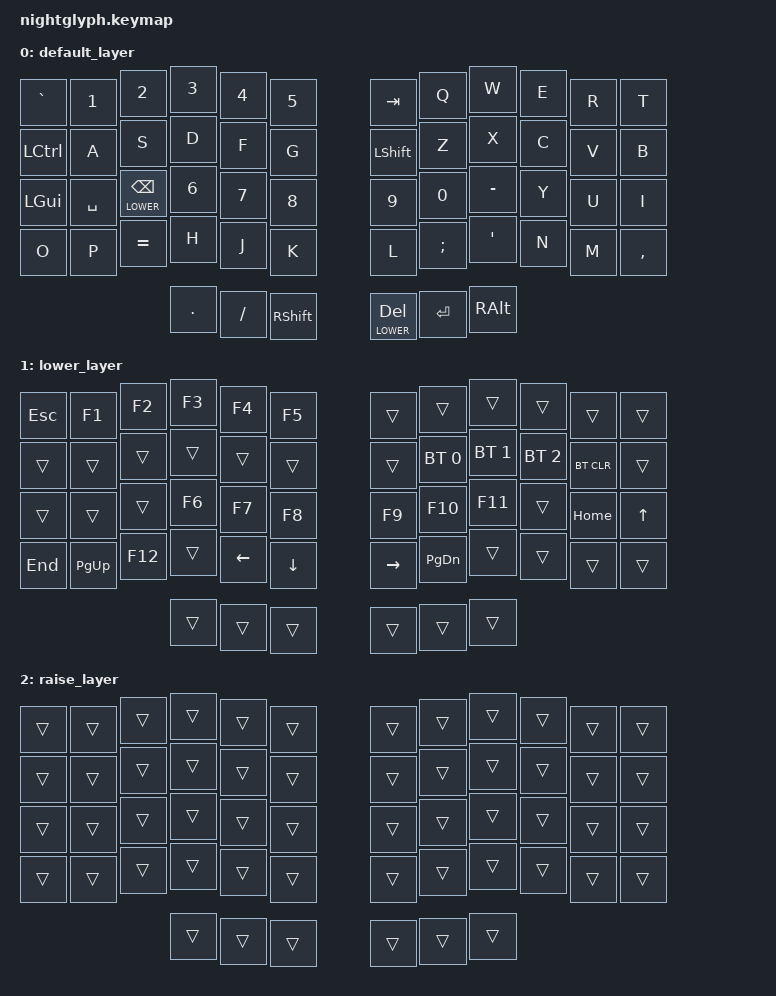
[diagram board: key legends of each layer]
/*
 * NightGlyph キーマップ
 *
 * 物理レイアウト（左右合わせた全体図）:
 *
 * ┌───┬───┬───┬───┬───┬───┐   ┌───┬───┬───┬───┬───┬───┐
 * │ ` │ 1 │ 2 │ 3 │ 4 │ 5 │   │ 6 │ 7 │ 8 │ 9 │ 0 │ - │
 * ├───┼───┼───┼───┼───┼───┤   ├───┼───┼───┼───┼───┼───┤
 * │Tab│ Q │ W │ E │ R │ T │   │ Y │ U │ I │ O │ P │ = │
 * ├───┼───┼───┼───┼───┼───┤   ├───┼───┼───┼───┼───┼───┤
 * │Ctl│ A │ S │ D │ F │ G │   │ H │ J │ K │ L │ ; │ ' │
 * ├───┼───┼───┼───┼───┼───┤   ├───┼───┼───┼───┼───┼───┤
 * │Sft│ Z │ X │ C │ V │ B │   │ N │ M │ , │ . │ / │Sft│
 * └───┴───┴───┼───┼───┼───┘   └───┼───┼───┼───┴───┴───┘
 *             │GUI│Spc│BSP│   │DEL│Ent│RAl│
 *             └───┴───┴───┘   └───┴───┴───┘
 *
 * 【バインディング順（重要）】
 *   ZMK は 左(セントラル)=キー位置0-26、右(ペリフェラル)=27-53 に割り当てる。
 *   なので「左27キー(row0→row4) を全部 → 続けて右27キー(row0→row4)」の順で書く。
 *   各サイドの transform 順は matrix_transform の RC() 順に一致。
 */

#include <behaviors.dtsi>
#include <dt-bindings/zmk/keys.h>
#include <dt-bindings/zmk/bt.h>

#define DEFAULT 0
#define LOWER   1
#define RAISE   2

/ {
    keymap {
        compatible = "zmk,keymap";

        default_layer {
            /* QWERTY レイアウト */
            bindings = <
                /* ===== 左 27キー ===== */
                &kp GRAVE  &kp N1     &kp N2     &kp N3     &kp N4     &kp N5
                &kp TAB    &kp Q      &kp W      &kp E      &kp R      &kp T
                &kp LCTRL  &kp A      &kp S      &kp D      &kp F      &kp G
                &kp LSHFT  &kp Z      &kp X      &kp C      &kp V      &kp B
                &kp LGUI   &kp SPACE  &lt LOWER BSPC
                /* ===== 右 27キー ===== */
                &kp N6     &kp N7     &kp N8     &kp N9     &kp N0     &kp MINUS
                &kp Y      &kp U      &kp I      &kp O      &kp P      &kp EQUAL
                &kp H      &kp J      &kp K      &kp L      &kp SEMI   &kp SQT
                &kp N      &kp M      &kp COMMA  &kp DOT    &kp FSLH   &kp RSHFT
                &lt LOWER DEL  &kp ENTER  &kp RALT
            >;
        };

        lower_layer {
            /*
             * ファンクションキー / ナビゲーション / BT
             *
             * ┌────┬────┬────┬────┬────┬────┐   ┌────┬────┬────┬────┬────┬────┐
             * │ESC │ F1 │ F2 │ F3 │ F4 │ F5 │   │ F6 │ F7 │ F8 │ F9 │F10 │F11 │
             * ├────┼────┼────┼────┼────┼────┤   ├────┼────┼────┼────┼────┼────┤
             * │    │    │    │    │    │    │   │    │Home│ Up │End │PgUp│F12 │
             * ├────┼────┼────┼────┼────┼────┤   ├────┼────┼────┼────┼────┼────┤
             * │    │    │    │    │    │    │   │    │ ←  │ ↓  │ →  │PgDn│    │
             * ├────┼────┼────┼────┼────┼────┤   ├────┼────┼────┼────┼────┼────┤
             * │    │BT1 │BT2 │BT3 │BTCl│    │   │    │    │    │    │    │    │
             * └────┴────┴────┼────┼────┼────┘   └────┼────┼────┼────┴────┴────┘
             *                │    │    │    │   │    │    │    │
             *                └────┴────┴────┘   └────┴────┴────┘
             */
            bindings = <
                /* ===== 左 27キー ===== */
                &kp ESC    &kp F1         &kp F2         &kp F3         &kp F4       &kp F5
                &trans     &trans         &trans         &trans         &trans       &trans
                &trans     &trans         &trans         &trans         &trans       &trans
                &trans     &bt BT_SEL 0   &bt BT_SEL 1   &bt BT_SEL 2   &bt BT_CLR   &trans
                &trans     &trans         &trans
                /* ===== 右 27キー ===== */
                &kp F6     &kp F7     &kp F8     &kp F9     &kp F10    &kp F11
                &trans     &kp HOME   &kp UP     &kp END    &kp PG_UP  &kp F12
                &trans     &kp LEFT   &kp DOWN   &kp RIGHT  &kp PG_DN  &trans
                &trans     &trans     &trans     &trans     &trans     &trans
                &trans     &trans     &trans
            >;
        };

        raise_layer {
            /* 予備レイヤー（自由にカスタマイズ可） */
            bindings = <
                /* ===== 左 27キー ===== */
                &trans     &trans     &trans     &trans     &trans     &trans
                &trans     &trans     &trans     &trans     &trans     &trans
                &trans     &trans     &trans     &trans     &trans     &trans
                &trans     &trans     &trans     &trans     &trans     &trans
                &trans     &trans     &trans
                /* ===== 右 27キー ===== */
                &trans     &trans     &trans     &trans     &trans     &trans
                &trans     &trans     &trans     &trans     &trans     &trans
                &trans     &trans     &trans     &trans     &trans     &trans
                &trans     &trans     &trans     &trans     &trans     &trans
                &trans     &trans     &trans
            >;
        };
    };
};
